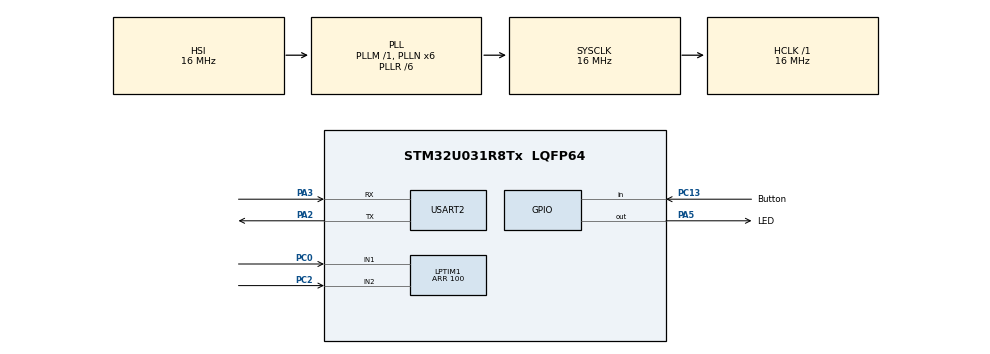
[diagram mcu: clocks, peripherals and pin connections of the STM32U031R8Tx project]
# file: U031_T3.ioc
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LPTIM1.Period=100
LPTIM1.TriggerSource=LPTIM_TRIGSOURCE_SOFTWARE
LPTIM1.UpdateMode=LPTIM_UPDATE_IMMEDIATE
Mcu.Family=STM32U0
Mcu.Name=STM32U031R8Tx
Mcu.Package=LQFP64
NVIC.PriorityGroup=NVIC_PRIORITYGROUP_2
NVIC.RTC_TAMP_IRQn=true\:0\:0\:false\:false\:true\:true\:true\:true
NVIC.TIM6_DAC_LPTIM1_IRQn=true\:0\:0\:false\:false\:true\:true\:true\:true
PA13\ (SWDIO).Mode=Serial_Wire
PA13\ (SWDIO).Signal=DEBUG_JTMS-SWDIO
PA14\ (SWCLK).Mode=Serial_Wire
PA14\ (SWCLK).Signal=DEBUG_JTCK-SWCLK
PA2.Mode=Asynchronous
PA2.Signal=USART2_TX
PA3.Mode=Asynchronous
PA3.Signal=USART2_RX
PA5.GPIO_Label=LED
PA5.Signal=GPIO_Output
PC0.Mode=Encoder_mode_occur1
PC0.Signal=LPTIM1_IN1
PC13.GPIO_Label=Button
PC13.Signal=GPIO_Input
PC14-OSC32_IN.Mode=LSE-External-Oscillator
PC14-OSC32_IN.Signal=RCC_OSC32_IN
PC15-OSC32_OUT.Mode=LSE-External-Oscillator
PC15-OSC32_OUT.Signal=RCC_OSC32_OUT
PC2.Mode=Encoder_mode_occur1
PC2.Signal=LPTIM1_IN2
PF0-OSC_IN.Mode=HSE-External-Oscillator
PF0-OSC_IN.Signal=RCC_OSC_IN
PF1-OSC_OUT.Mode=HSE-External-Oscillator
PF1-OSC_OUT.Signal=RCC_OSC_OUT
ProjectManager.HeapSize=0x200
ProjectManager.StackSize=0x400
ProjectManager.TargetToolchain=STM32CubeIDE
RCC.ADCFreq_Value=16000000
RCC.AHBFreq_Value=16000000
RCC.CortexFreq_Value=16000000
RCC.HCLKFreq_Value=16000000
RCC.HSE_VALUE=4000000
RCC.HSI48_VALUE=48000000
RCC.HSI_VALUE=16000000
RCC.LPTIM1CLockSelection=RCC_LPTIM1CLKSOURCE_LSE
RCC.MSI_VALUE=4000000
RCC.PLLN=6
RCC.PLLR=RCC_PLLR_DIV6
RCC.RTCClockSelection=RCC_RTCCLKSOURCE_LSE
RCC.SYSCLKFreq_VALUE=16000000
RCC.SYSCLKSource=RCC_SYSCLKSOURCE_PLLCLK
RCC.VCOOutputFreq_Value=96000000
RTC.Alarm-Alarm\ A=RTC_ALARM_A
RTC.Seconds_A-Alarm\ A=10
RTC.Year=25
USART2.VirtualMode-Asynchronous=VM_ASYNC
VP_PWR_VS_SECSignals.Mode=Security/Privilege
VP_RTC_VS_RTC_Activate.Mode=RTC_Enabled
VP_RTC_VS_RTC_Alarm_A_Intern.Mode=Alarm A
VP_RTC_VS_RTC_Calendar.Mode=RTC_Calendar
board=custom

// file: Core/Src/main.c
/* USER CODE BEGIN Header */
/**
  ******************************************************************************
  * @file           : main.c
  * @brief          : Main program body
  ******************************************************************************
  * @attention
  *
  * Copyright (c) 2025 STMicroelectronics.
  * All rights reserved.
  *
  * This software is licensed under terms that can be found in the LICENSE file
  * in the root directory of this software component.
  * If no LICENSE file comes with this software, it is provided AS-IS.
  *
  ******************************************************************************
  */
/* USER CODE END Header */
#include "main.h"

/* USER CODE BEGIN Includes */
#include <stdio.h>
#include <string.h>
#include <stdarg.h>
#include <stdbool.h>
/* USER CODE END Includes */

/* USER CODE BEGIN PD */
#define TRACSENS_CFG_AUTORELOAD_VALUE 0xFFFF
/* USER CODE END PD */

LPTIM_HandleTypeDef hlptim1;

RTC_HandleTypeDef hrtc;

UART_HandleTypeDef huart2;

/* USER CODE BEGIN PV */

typedef enum
{
	NORMAL_CounterMode,
	INVERT_CounterMode,
}PULSER_CounterMode_t;

typedef enum
{
	UNKNOWN_CounterDirection,
	FORWARD_CounterDirection,
	BACKWARD_CounterDirection,
}PULSER_CounterDirection_t;

static PULSER_CounterMode_t eMode= NORMAL_CounterMode;
static uint16_t uwCompareValue;

static PULSER_CounterDirection_t eCounterDirection= UNKNOWN_CounterDirection;
static int32_t lCntrMultiplier= 0;
static int32_t lCntrErrorReading= 0;

typedef enum
{
	NONE_CounterErrorState= 0,
	FWD_EXPECTING_BWD_CounterErrorState,
	BWD_EXPECTING_FWD_CounterErrorState,
	FWD_EXPECTING_BWD_END_CounterErrorState,
	BWD_EXPECTING_FWD_END_CounterErrorState,
}TRACSENS_CounterErrorState_t;

typedef struct
{
	bool enableErrorPatternCheck;
	bool useCompensatedValue;
	uint16_t errorPatternConfirmationCount;

	int32_t rteOffsetValue;
	int32_t rteLastSavedValue;
	uint32_t rteErrorPatternCount;
	bool rteErrorPatternCompensationStarted;
	TRACSENS_CounterErrorState_t rteErrorPatternState;
	int32_t rteErrorPatternPreviousPulse;
	bool rteErrorPatternJustStarted;
}TRACSENS_t;

static TRACSENS_t *pConfig;

/* USER CODE END PV */

void SystemClock_Config(void);
static void MX_GPIO_Init(void);
static void MX_USART2_UART_Init(void);
static void MX_LPTIM1_Init(void);
static void MX_RTC_Init(void);
/* USER CODE BEGIN PFP */
void UART_Printf(char *format, ...);
void TRACSENS_StartCounting();

void TRACSENS_DisplayInfo(void);
static int32_t TRACSENS_GetCounter(void);

void TRACSENS_CompareCallback(LPTIM_HandleTypeDef *hlptim);
void TRACSENS_AutoReloadMatchCallback(LPTIM_HandleTypeDef *hlptim);
void TRACSENS_CounterChangedToUpCallback(LPTIM_HandleTypeDef *hlptim);
void TRACSENS_CounterChangedToDownCallback(LPTIM_HandleTypeDef *hlptim);
void TRACSENS_ChangedToUpErrorHandling(void);
void TRACSENS_ChangedToDownErrorHandling(void);
static void TRACSENS_Power(bool _enable);
/* USER CODE END PFP */

int main(void)
{

  /* MCU Configuration--------------------------------------------------------*/

  /* Reset of all peripherals, Initializes the Flash interface and the Systick. */
  HAL_Init();

  /* Configure the system clock */
  SystemClock_Config();

  /* Initialize all configured peripherals */
  MX_GPIO_Init();
  MX_USART2_UART_Init();
  MX_LPTIM1_Init();
  MX_RTC_Init();
  /* USER CODE BEGIN 2 */
  TRACSENS_StartCounting();

	if (HAL_LPTIM_Counter_Start_IT(&hlptim1) != HAL_OK)
	{
	  Error_Handler();
	}

	/* Disable autoreload write complete interrupt */
	__HAL_LPTIM_DISABLE_IT(&hlptim1, LPTIM_IT_ARROK);

	uint32_t value = LL_LPTIM_OC_GetCompareCH1(LPTIM1);

	UART_Printf("Main start %d\n\r", value);
	TRACSENS_DisplayInfo();
	HAL_Delay(1000);

	int32_t reading = 0;
  /* USER CODE END 2 */

  /* Infinite loop */
  while (1)
  {

    /* USER CODE BEGIN 3 */

	  reading = TRACSENS_GetCounter();
  //	  UART_Printf("reading %d %d\r\n",reading, lCntrMultiplier);
	  TRACSENS_DisplayInfo();
	  HAL_Delay(2000);
  }
  /* USER CODE END 3 */
}

void SystemClock_Config(void)
{
  RCC_OscInitTypeDef RCC_OscInitStruct = {0};
  RCC_ClkInitTypeDef RCC_ClkInitStruct = {0};

  /** Configure the main internal regulator output voltage
  */
  HAL_PWREx_ControlVoltageScaling(PWR_REGULATOR_VOLTAGE_SCALE2);

  /** Configure LSE Drive Capability
  */
  HAL_PWR_EnableBkUpAccess();
  __HAL_RCC_LSEDRIVE_CONFIG(RCC_LSEDRIVE_LOW);

  /** Initializes the RCC Oscillators according to the specified parameters
  * in the RCC_OscInitTypeDef structure.
  */
  RCC_OscInitStruct.OscillatorType = RCC_OSCILLATORTYPE_HSI|RCC_OSCILLATORTYPE_LSE;
  RCC_OscInitStruct.LSEState = RCC_LSE_ON;
  RCC_OscInitStruct.HSIState = RCC_HSI_ON;
  RCC_OscInitStruct.HSICalibrationValue = RCC_HSICALIBRATION_DEFAULT;
  RCC_OscInitStruct.PLL.PLLState = RCC_PLL_ON;
  RCC_OscInitStruct.PLL.PLLSource = RCC_PLLSOURCE_HSI;
  RCC_OscInitStruct.PLL.PLLM = RCC_PLLM_DIV1;
  RCC_OscInitStruct.PLL.PLLN = 6;
  RCC_OscInitStruct.PLL.PLLP = RCC_PLLP_DIV2;
  RCC_OscInitStruct.PLL.PLLQ = RCC_PLLQ_DIV2;
  RCC_OscInitStruct.PLL.PLLR = RCC_PLLR_DIV6;
  if (HAL_RCC_OscConfig(&RCC_OscInitStruct) != HAL_OK)
  {
    Error_Handler();
  }

  /** Initializes the CPU, AHB and APB buses clocks
  */
  RCC_ClkInitStruct.ClockType = RCC_CLOCKTYPE_HCLK|RCC_CLOCKTYPE_SYSCLK
                              |RCC_CLOCKTYPE_PCLK1;
  RCC_ClkInitStruct.SYSCLKSource = RCC_SYSCLKSOURCE_PLLCLK;
  RCC_ClkInitStruct.AHBCLKDivider = RCC_SYSCLK_DIV1;
  RCC_ClkInitStruct.APB1CLKDivider = RCC_HCLK_DIV1;

  if (HAL_RCC_ClockConfig(&RCC_ClkInitStruct, FLASH_LATENCY_1) != HAL_OK)
  {
    Error_Handler();
  }
}

static void MX_LPTIM1_Init(void)
{

  hlptim1.Instance = LPTIM1;
  hlptim1.Init.Clock.Source = LPTIM_CLOCKSOURCE_APBCLOCK_LPOSC;
  hlptim1.Init.Clock.Prescaler = LPTIM_PRESCALER_DIV1;
  hlptim1.Init.UltraLowPowerClock.Polarity = LPTIM_CLOCKPOLARITY_RISING;
  hlptim1.Init.UltraLowPowerClock.SampleTime = LPTIM_CLOCKSAMPLETIME_DIRECTTRANSITION;
  hlptim1.Init.Trigger.Source = LPTIM_TRIGSOURCE_SOFTWARE;
  hlptim1.Init.Period = 100;
  hlptim1.Init.UpdateMode = LPTIM_UPDATE_IMMEDIATE;
  hlptim1.Init.CounterSource = LPTIM_COUNTERSOURCE_EXTERNAL;
  hlptim1.Init.Input1Source = LPTIM_INPUT1SOURCE_GPIO;
  hlptim1.Init.Input2Source = LPTIM_INPUT2SOURCE_GPIO;
  hlptim1.Init.RepetitionCounter = 0;
  if (HAL_LPTIM_Init(&hlptim1) != HAL_OK)
  {
    Error_Handler();
  }

}

static void MX_RTC_Init(void)
{

  RTC_TimeTypeDef sTime = {0};
  RTC_DateTypeDef sDate = {0};
  RTC_AlarmTypeDef sAlarm = {0};

  /** Initialize RTC Only
  */
  hrtc.Instance = RTC;
  hrtc.Init.HourFormat = RTC_HOURFORMAT_24;
  hrtc.Init.AsynchPrediv = 127;
  hrtc.Init.SynchPrediv = 255;
  hrtc.Init.OutPut = RTC_OUTPUT_DISABLE;
  hrtc.Init.OutPutRemap = RTC_OUTPUT_REMAP_NONE;
  hrtc.Init.OutPutPolarity = RTC_OUTPUT_POLARITY_HIGH;
  hrtc.Init.OutPutType = RTC_OUTPUT_TYPE_OPENDRAIN;
  hrtc.Init.OutPutPullUp = RTC_OUTPUT_PULLUP_NONE;
  hrtc.Init.BinMode = RTC_BINARY_NONE;
  if (HAL_RTC_Init(&hrtc) != HAL_OK)
  {
    Error_Handler();
  }

  /** Initialize RTC and set the Time and Date
  */
  sTime.Hours = 0x0;
  sTime.Minutes = 0x0;
  sTime.Seconds = 0x0;
  sTime.DayLightSaving = RTC_DAYLIGHTSAVING_NONE;
  sTime.StoreOperation = RTC_STOREOPERATION_RESET;
  if (HAL_RTC_SetTime(&hrtc, &sTime, RTC_FORMAT_BCD) != HAL_OK)
  {
    Error_Handler();
  }
  sDate.WeekDay = RTC_WEEKDAY_MONDAY;
  sDate.Month = RTC_MONTH_JANUARY;
  sDate.Date = 0x1;
  sDate.Year = 0x25;

  if (HAL_RTC_SetDate(&hrtc, &sDate, RTC_FORMAT_BCD) != HAL_OK)
  {
    Error_Handler();
  }

  /** Enable the Alarm A
  */
  sAlarm.AlarmTime.Hours = 0x0;
  sAlarm.AlarmTime.Minutes = 0x0;
  sAlarm.AlarmTime.Seconds = 0x10;
  sAlarm.AlarmTime.SubSeconds = 0x0;
  sAlarm.AlarmMask = RTC_ALARMMASK_NONE;
  sAlarm.AlarmSubSecondMask = RTC_ALARMSUBSECONDMASK_ALL;
  sAlarm.AlarmDateWeekDaySel = RTC_ALARMDATEWEEKDAYSEL_DATE;
  sAlarm.AlarmDateWeekDay = 0x1;
  sAlarm.Alarm = RTC_ALARM_A;
  if (HAL_RTC_SetAlarm_IT(&hrtc, &sAlarm, RTC_FORMAT_BCD) != HAL_OK)
  {
    Error_Handler();
  }

}

static void MX_USART2_UART_Init(void)
{

  huart2.Instance = USART2;
  huart2.Init.BaudRate = 115200;
  huart2.Init.WordLength = UART_WORDLENGTH_8B;
  huart2.Init.StopBits = UART_STOPBITS_1;
  huart2.Init.Parity = UART_PARITY_NONE;
  huart2.Init.Mode = UART_MODE_TX_RX;
  huart2.Init.HwFlowCtl = UART_HWCONTROL_NONE;
  huart2.Init.OverSampling = UART_OVERSAMPLING_16;
  huart2.Init.OneBitSampling = UART_ONE_BIT_SAMPLE_DISABLE;
  huart2.Init.ClockPrescaler = UART_PRESCALER_DIV1;
  huart2.AdvancedInit.AdvFeatureInit = UART_ADVFEATURE_NO_INIT;
  if (HAL_UART_Init(&huart2) != HAL_OK)
  {
    Error_Handler();
  }
  if (HAL_UARTEx_SetTxFifoThreshold(&huart2, UART_TXFIFO_THRESHOLD_1_8) != HAL_OK)
  {
    Error_Handler();
  }
  if (HAL_UARTEx_SetRxFifoThreshold(&huart2, UART_RXFIFO_THRESHOLD_1_8) != HAL_OK)
  {
    Error_Handler();
  }
  if (HAL_UARTEx_DisableFifoMode(&huart2) != HAL_OK)
  {
    Error_Handler();
  }

}

static void MX_GPIO_Init(void)
{
  GPIO_InitTypeDef GPIO_InitStruct = {0};

  /* GPIO Ports Clock Enable */
  __HAL_RCC_GPIOC_CLK_ENABLE();
  __HAL_RCC_GPIOF_CLK_ENABLE();
  __HAL_RCC_GPIOA_CLK_ENABLE();

  /*Configure GPIO pin Output Level */
  HAL_GPIO_WritePin(LED_GPIO_Port, LED_Pin, GPIO_PIN_RESET);

  /*Configure GPIO pin : Button_Pin */
  GPIO_InitStruct.Pin = Button_Pin;
  GPIO_InitStruct.Mode = GPIO_MODE_INPUT;
  GPIO_InitStruct.Pull = GPIO_NOPULL;
  HAL_GPIO_Init(Button_GPIO_Port, &GPIO_InitStruct);

  /*Configure GPIO pin : LED_Pin */
  GPIO_InitStruct.Pin = LED_Pin;
  GPIO_InitStruct.Mode = GPIO_MODE_OUTPUT_PP;
  GPIO_InitStruct.Pull = GPIO_NOPULL;
  GPIO_InitStruct.Speed = GPIO_SPEED_FREQ_LOW;
  HAL_GPIO_Init(LED_GPIO_Port, &GPIO_InitStruct);

}

/* USER CODE BEGIN 4 */

void TRACSENS_DisplayInfo(void)
{
	static int32_t _prevPulse= 0;
	int32_t _currPulse= TRACSENS_GetCounter();
//	if(_prevPulse!= _currPulse)
//	{
//		_prevPulse= _currPulse;

		UART_Printf("#stat:mag2: display > curr: %d errCnt: %d errState: %d errPulse: %d\r\n",
				_currPulse, pConfig->rteErrorPatternCount, pConfig->rteErrorPatternState, pConfig->rteErrorPatternPreviousPulse);
//	}
}

static int32_t TRACSENS_GetCounter(void)
{
	int32_t _value;
    do/* 2 consecutive readings need to be the same*/
    {
    	_value= LL_LPTIM_GetCounter(LPTIM1);
    }while(LL_LPTIM_GetCounter(LPTIM1)!= _value);

//	if(INVERT_CounterMode== eMode)
//	{
//		_value= 0xFFFF& ((TRACSENS_CFG_AUTORELOAD_VALUE+ 1)- _value);
//	}
//
//    _value+= (lCntrMultiplier* (TRACSENS_CFG_AUTORELOAD_VALUE+ 1));

    return _value;
}

void TRACSENS_CompareCallback(LPTIM_HandleTypeDef *hlptim)
{
	UART_Printf("TRACSENS_CompareCallback\n\r");
	if(UNKNOWN_CounterDirection== eCounterDirection)/*initially we don't know. we choose forward cos this compare confirming it forward*/
	{
		eCounterDirection= FORWARD_CounterDirection;
	}

	//DBG_Print("CompareCallback:%d, multiplier:%d \r\n", eCounterDirection, lCntrMultiplier);
}

void TRACSENS_CounterChangedToUpCallback(LPTIM_HandleTypeDef *hlptim)
{
	UART_Printf("TRACSENS_CounterChangedToUpCallback\n\r");
	eCounterDirection= FORWARD_CounterDirection;

	if(true== pConfig->enableErrorPatternCheck)
	{
		TRACSENS_ChangedToUpErrorHandling();
	}

	//DBG_Print("CounterChangedToUpCallback:%d, multiplier:%d \r\n", eCounterDirection, lCntrMultiplier);
}

void TRACSENS_CounterChangedToDownCallback(LPTIM_HandleTypeDef *hlptim)
{
	UART_Printf("TRACSENS_CounterChangedToDownCallback\n\r");
	eCounterDirection= BACKWARD_CounterDirection;

	if(true== pConfig->enableErrorPatternCheck)
	{
		TRACSENS_ChangedToDownErrorHandling();
	}

	//DBG_Print("CounterChangedToDownCallback:%d, multiplier:%d \r\n", eCounterDirection, lCntrMultiplier);
}

void TRACSENS_AutoReloadMatchCallback(LPTIM_HandleTypeDef *hlptim)
{
	UART_Printf("TRACSENS_AutoReloadMatchCallback\n\r");
	if(UNKNOWN_CounterDirection== eCounterDirection)/*initially we don't know. we choose backward cos we have a compare int to choose forward*/
	{
		eCounterDirection= BACKWARD_CounterDirection;
	}

	/*check and set cos sometimes direction interrupt will occur simultaneously with ARR interrupt, but served after ARR*/
	if(LL_LPTIM_IsActiveFlag_UP(LPTIM1))
	{
		if(NORMAL_CounterMode== eMode)
		{
			eCounterDirection= FORWARD_CounterDirection;
		}
		else if(INVERT_CounterMode== eMode)
		{
			eCounterDirection= BACKWARD_CounterDirection;
		}
	}
	else if(LL_LPTIM_IsActiveFlag_DOWN(LPTIM1))
	{
		if(NORMAL_CounterMode== eMode)
		{
			eCounterDirection= BACKWARD_CounterDirection;
		}
		else if(INVERT_CounterMode== eMode)
		{
			eCounterDirection= FORWARD_CounterDirection;
		}
	}

	if(FORWARD_CounterDirection== eCounterDirection)
	{
		lCntrMultiplier++;
	}
	else if(BACKWARD_CounterDirection== eCounterDirection)
	{
		lCntrMultiplier--;
	}

	//DBG_Print("AutoReloadMatchCallback:%d, multiplier:%d \r\n", eCounterDirection, lCntrMultiplier);
}
void TRACSENS_StartCounting()
{
	TRACSENS_Power(true);

	if(NORMAL_CounterMode== eMode)
	{
		HAL_LPTIM_RegisterCallback(&hlptim1, HAL_LPTIM_COMPARE_MATCH_CB_ID, TRACSENS_CompareCallback);
		HAL_LPTIM_RegisterCallback(&hlptim1, HAL_LPTIM_AUTORELOAD_MATCH_CB_ID, TRACSENS_AutoReloadMatchCallback);
		HAL_LPTIM_RegisterCallback(&hlptim1, HAL_LPTIM_DIRECTION_UP_CB_ID, TRACSENS_CounterChangedToUpCallback);
		HAL_LPTIM_RegisterCallback(&hlptim1, HAL_LPTIM_DIRECTION_DOWN_CB_ID, TRACSENS_CounterChangedToDownCallback);
	}
	else if(INVERT_CounterMode== eMode)
	{
		HAL_LPTIM_RegisterCallback(&hlptim1, HAL_LPTIM_COMPARE_MATCH_CB_ID, TRACSENS_CompareCallback);
		HAL_LPTIM_RegisterCallback(&hlptim1, HAL_LPTIM_AUTORELOAD_MATCH_CB_ID, TRACSENS_AutoReloadMatchCallback);
		HAL_LPTIM_RegisterCallback(&hlptim1, HAL_LPTIM_DIRECTION_UP_CB_ID, TRACSENS_CounterChangedToDownCallback);
		HAL_LPTIM_RegisterCallback(&hlptim1, HAL_LPTIM_DIRECTION_DOWN_CB_ID, TRACSENS_CounterChangedToUpCallback);
	}

	uwCompareValue=0x01;/*used once to detect direction*/

//	LL_LPTIM_EnableIT_CC1(LPTIM1);		/*Enable the Compare Match interrupt for Channel 1 */
//	LL_LPTIM_EnableIT_ARRM(LPTIM1); 	/*Enable autoreload match interrupt (ARRMIE).*/
//	LL_LPTIM_EnableIT_UP(LPTIM1);		/*Enable direction change to up interrupt (UPIE).*/
//	LL_LPTIM_EnableIT_DOWN(LPTIM1);		/*Enable direction change to down interrupt (DOWNIE).*/

	LL_LPTIM_OC_SetCompareCH1(LPTIM1, 11);
//	LL_LPTIM_SetCompare(LPTIM1, uwCompareValue);/*we need this to know the initial pulse direction(which we don't know after reset)*/

	LL_LPTIM_SetEncoderMode(LPTIM1, LL_LPTIM_ENCODER_MODE_RISING_FALLING);
    LL_LPTIM_EnableEncoderMode(LPTIM1);
    LL_LPTIM_Enable(LPTIM1);
	LL_LPTIM_SetAutoReload(LPTIM1, TRACSENS_CFG_AUTORELOAD_VALUE);
    LL_LPTIM_StartCounter(LPTIM1, LL_LPTIM_OPERATING_MODE_CONTINUOUS);
    //LPTIM_FeedExternalClock();/*needed when using external clock in counter mode*/

    /*this is needed during power up as we always get extra pulse a bit while after start counting*/
	HAL_Delay(1);	/*when reboot, we get extra pulse*/

	do/* 2 consecutive readings need to be the same*/
    {
    	lCntrErrorReading= LL_LPTIM_GetCounter(LPTIM1);
    }while(LL_LPTIM_GetCounter(LPTIM1)!= lCntrErrorReading);

	//DBG_Print("lCntrErrorReading: %d.\r\n", lCntrErrorReading);
}

void TRACSENS_ChangedToUpErrorHandling(void)
{
	if(BWD_EXPECTING_FWD_CounterErrorState== pConfig->rteErrorPatternState)
	{
		pConfig->rteErrorPatternState= FWD_EXPECTING_BWD_END_CounterErrorState;
	}

}

void TRACSENS_ChangedToDownErrorHandling(void)
{
	int32_t _curr= TRACSENS_GetCounter();
	if(0!= (_curr- pConfig->rteErrorPatternPreviousPulse))
	{
		pConfig->rteErrorPatternState= NONE_CounterErrorState; /*reset if we get real pulse inbetween error pattern*/
		pConfig->rteErrorPatternJustStarted= false;
		if(false== pConfig->rteErrorPatternCompensationStarted)
		{
			pConfig->rteErrorPatternCount= 0;/*we need consecutive error pattern to mark the meter as erroneous that we can handle*/
			//DBG_Print("#stat:mag2: errorPatternCountCleared >\r\n");
		}
	}
	if(NONE_CounterErrorState== pConfig->rteErrorPatternState)
	{
		pConfig->rteErrorPatternJustStarted= true;
		pConfig->rteErrorPatternState= BWD_EXPECTING_FWD_CounterErrorState;
	}
	else if(FWD_EXPECTING_BWD_CounterErrorState== pConfig->rteErrorPatternState)
	{
		pConfig->rteErrorPatternState= BWD_EXPECTING_FWD_END_CounterErrorState;
	}
	else if(FWD_EXPECTING_BWD_END_CounterErrorState== pConfig->rteErrorPatternState)
	{
		pConfig->rteErrorPatternCount++;
		if(true== pConfig->rteErrorPatternJustStarted)
		{
			pConfig->rteErrorPatternJustStarted= false;
			pConfig->rteErrorPatternCount++;
		}

		if((false== pConfig->rteErrorPatternCompensationStarted)&& (pConfig->errorPatternConfirmationCount<= pConfig->rteErrorPatternCount))
		{
			pConfig->rteErrorPatternCompensationStarted= true;
			//DBG_Print("#stat:mag2: errorPatternCompensationStarted > \r\n");
		}
		pConfig->rteErrorPatternState= BWD_EXPECTING_FWD_CounterErrorState;
	}
	pConfig->rteErrorPatternPreviousPulse= _curr;
}

static void TRACSENS_Power(bool _enable)
{
}

void UART_Printf(char *format, ...)
{
  char str[256];
  va_list args;
  va_start(args, format);
  vsnprintf(str, sizeof(str), format, args);
  va_end(args);

  HAL_UART_Transmit(&huart2, (uint8_t *)str, strlen(str), HAL_MAX_DELAY);
}

/* USER CODE END 4 */

void Error_Handler(void)
{
  __disable_irq();
  while (1)
  {
  }
}
